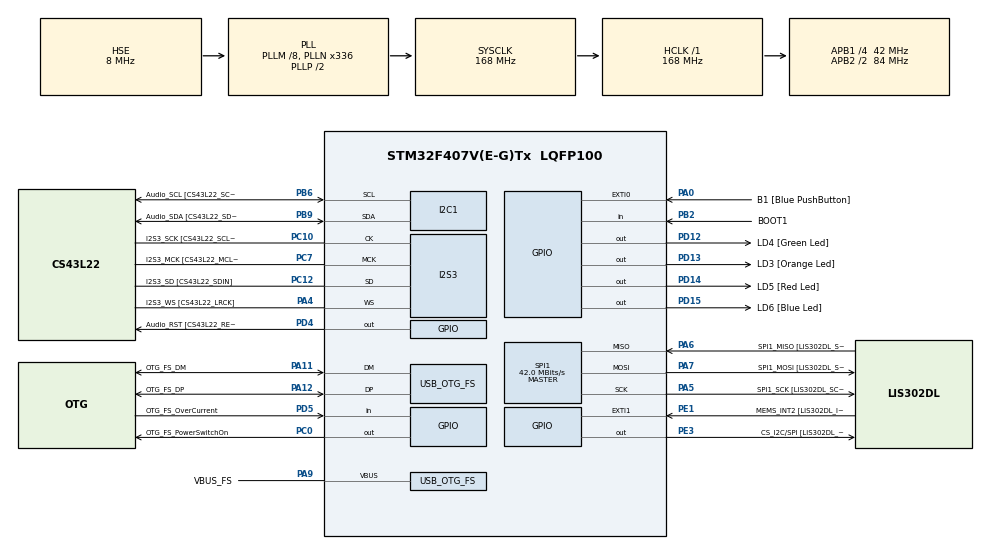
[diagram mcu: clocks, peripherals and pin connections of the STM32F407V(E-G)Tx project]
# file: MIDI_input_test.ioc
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Dma.Request0=SPI3_TX
Dma.SPI3_TX.0.Direction=DMA_MEMORY_TO_PERIPH
Dma.SPI3_TX.0.FIFOMode=DMA_FIFOMODE_DISABLE
Dma.SPI3_TX.0.Instance=DMA1_Stream5
Dma.SPI3_TX.0.MemDataAlignment=DMA_MDATAALIGN_HALFWORD
Dma.SPI3_TX.0.MemInc=DMA_MINC_ENABLE
Dma.SPI3_TX.0.Mode=DMA_CIRCULAR
Dma.SPI3_TX.0.PeriphDataAlignment=DMA_PDATAALIGN_HALFWORD
Dma.SPI3_TX.0.PeriphInc=DMA_PINC_DISABLE
Dma.SPI3_TX.0.Priority=DMA_PRIORITY_VERY_HIGH
I2S3.AudioFreq=I2S_AUDIOFREQ_48K
I2S3.AudioFreq-Half_Duplex_Master=I2S_AUDIOFREQ_96K
I2S3.ErrorAudioFreq=0.19 %
I2S3.ErrorAudioFreq-Half_Duplex_Master=0.8 %
I2S3.FullDuplexMode=I2S_FULLDUPLEXMODE_DISABLE
I2S3.Instance=SPI$Index
I2S3.RealAudioFreq=48.095 KHz
I2S3.RealAudioFreq-Half_Duplex_Master=96.774 KHz
I2S3.VirtualMode=I2S_MODE_MASTER
Mcu.Family=STM32F4
Mcu.Name=STM32F407V(E-G)Tx
Mcu.Package=LQFP100
NVIC.DMA1_Stream5_IRQn=true\:0\:0\:true\:false\:true\:false\:true\:true
NVIC.OTG_FS_IRQn=true\:0\:0\:false\:false\:true\:true\:true\:true
NVIC.PriorityGroup=NVIC_PRIORITYGROUP_0
NVIC.SPI3_IRQn=true\:0\:0\:false\:false\:true\:true\:true\:true
PA0-WKUP.GPIO_Label=B1 [Blue PushButton]
PA0-WKUP.GPIO_ModeDefaultEXTI=GPIO_MODE_EVT_RISING
PA0-WKUP.GPIO_PuPd=GPIO_NOPULL
PA0-WKUP.Signal=GPXTI0
PA10.GPIO_Label=OTG_FS_ID
PA10.GPIO_Mode=GPIO_MODE_AF_PP
PA10.GPIO_PuPd=GPIO_NOPULL
PA10.GPIO_Speed=GPIO_SPEED_FREQ_LOW
PA10.Signal=USB_OTG_FS_ID
PA11.GPIO_Label=OTG_FS_DM
PA11.GPIO_Mode=GPIO_MODE_AF_PP
PA11.GPIO_PuPd=GPIO_NOPULL
PA11.GPIO_Speed=GPIO_SPEED_FREQ_LOW
PA11.Mode=Device_Only
PA11.Signal=USB_OTG_FS_DM
PA12.GPIO_Label=OTG_FS_DP
PA12.GPIO_Mode=GPIO_MODE_AF_PP
PA12.GPIO_PuPd=GPIO_NOPULL
PA12.GPIO_Speed=GPIO_SPEED_FREQ_LOW
PA12.Mode=Device_Only
PA12.Signal=USB_OTG_FS_DP
PA13.GPIO_Label=SWDIO
PA13.Mode=Trace_Asynchronous_SW
PA13.Signal=SYS_JTMS-SWDIO
PA14.GPIO_Label=SWCLK
PA14.Mode=Trace_Asynchronous_SW
PA14.Signal=SYS_JTCK-SWCLK
PA4.GPIO_Label=I2S3_WS [CS43L22_LRCK]
PA4.GPIO_Mode=GPIO_MODE_AF_PP
PA4.GPIO_PuPd=GPIO_NOPULL
PA4.GPIO_Speed=GPIO_SPEED_FREQ_LOW
PA4.Mode=Half_Duplex_Master
PA4.Signal=I2S3_WS
PA5.GPIO_Label=SPI1_SCK [LIS302DL_SCL/SPC]
PA5.GPIO_Mode=GPIO_MODE_AF_PP
PA5.GPIO_PuPd=GPIO_NOPULL
PA5.GPIO_Speed=GPIO_SPEED_FREQ_LOW
PA5.Mode=Full_Duplex_Master
PA5.Signal=SPI1_SCK
PA6.GPIO_Label=SPI1_MISO [LIS302DL_SDO]
PA6.GPIO_Mode=GPIO_MODE_AF_PP
PA6.GPIO_PuPd=GPIO_NOPULL
PA6.GPIO_Speed=GPIO_SPEED_FREQ_LOW
PA6.Mode=Full_Duplex_Master
PA6.Signal=SPI1_MISO
PA7.GPIO_Label=SPI1_MOSI [LIS302DL_SDA/SDI/SDO]
PA7.GPIO_Mode=GPIO_MODE_AF_PP
PA7.GPIO_PuPd=GPIO_NOPULL
PA7.GPIO_Speed=GPIO_SPEED_FREQ_LOW
PA7.Mode=Full_Duplex_Master
PA7.Signal=SPI1_MOSI
PA9.GPIO_Label=VBUS_FS
PA9.GPIO_Mode=GPIO_MODE_INPUT
PA9.GPIO_PuPd=GPIO_NOPULL
PA9.Mode=Activate_VBUS
PA9.Signal=USB_OTG_FS_VBUS
PB10.GPIO_Label=CLK_IN [MP45DT02_CLK]
PB10.GPIO_Mode=GPIO_MODE_AF_PP
PB10.GPIO_PuPd=GPIO_NOPULL
PB10.GPIO_Speed=GPIO_SPEED_FREQ_LOW
PB10.Signal=I2S2_CK
PB2.GPIO_Label=BOOT1
PB2.GPIO_Mode=GPIO_MODE_INPUT
PB2.GPIO_PuPd=GPIO_NOPULL
PB2.Signal=GPIO_Input
PB3.GPIO_Label=SWO
PB3.Mode=Trace_Asynchronous_SW
PB3.Signal=SYS_JTDO-SWO
PB6.GPIO_Label=Audio_SCL [CS43L22_SCL]
PB6.GPIO_Mode=GPIO_MODE_AF_OD
PB6.GPIO_Pu=GPIO_PULLUP
PB6.GPIO_PuPd=GPIO_NOPULL
PB6.GPIO_Speed=GPIO_SPEED_FREQ_LOW
PB6.Mode=I2C
PB6.Signal=I2C1_SCL
PB9.GPIO_Label=Audio_SDA [CS43L22_SDA]
PB9.GPIO_Mode=GPIO_MODE_AF_OD
PB9.GPIO_Pu=GPIO_PULLUP
PB9.GPIO_PuPd=GPIO_NOPULL
PB9.GPIO_Speed=GPIO_SPEED_FREQ_LOW
PB9.Mode=I2C
PB9.Signal=I2C1_SDA
PC0.GPIO_Label=OTG_FS_PowerSwitchOn
PC0.GPIO_PuPd=GPIO_NOPULL
PC0.GPIO_Speed=GPIO_SPEED_FREQ_LOW
PC0.PinState=GPIO_PIN_SET
PC0.Signal=GPIO_Output
PC10.GPIO_Label=I2S3_SCK [CS43L22_SCLK]
PC10.GPIO_Mode=GPIO_MODE_AF_PP
PC10.GPIO_PuPd=GPIO_NOPULL
PC10.GPIO_Speed=GPIO_SPEED_FREQ_LOW
PC10.Mode=Half_Duplex_Master
PC10.Signal=I2S3_CK
PC12.GPIO_Label=I2S3_SD [CS43L22_SDIN]
PC12.GPIO_Mode=GPIO_MODE_AF_PP
PC12.GPIO_PuPd=GPIO_NOPULL
PC12.GPIO_Speed=GPIO_SPEED_FREQ_LOW
PC12.Mode=Half_Duplex_Master
PC12.Signal=I2S3_SD
PC14-OSC32_IN.GPIO_Label=PC14-OSC32_IN
PC14-OSC32_IN.Mode=LSE-External-Oscillator
PC14-OSC32_IN.Signal=RCC_OSC32_IN
PC15-OSC32_OUT.GPIO_Label=PC15-OSC32_OUT
PC15-OSC32_OUT.Mode=LSE-External-Oscillator
PC15-OSC32_OUT.Signal=RCC_OSC32_OUT
PC3.GPIO_Label=PDM_OUT [MP45DT02_DOUT]
PC3.GPIO_Mode=GPIO_MODE_AF_PP
PC3.GPIO_PuPd=GPIO_NOPULL
PC3.GPIO_Speed=GPIO_SPEED_FREQ_LOW
PC3.Signal=I2S2_SD
PC7.GPIO_Label=I2S3_MCK [CS43L22_MCLK]
PC7.GPIO_Mode=GPIO_MODE_AF_PP
PC7.GPIO_PuPd=GPIO_NOPULL
PC7.GPIO_Speed=GPIO_SPEED_FREQ_LOW
PC7.Mode=Master_Clock_Activated
PC7.Signal=I2S3_MCK
PD12.GPIO_Label=LD4 [Green Led]
PD12.GPIO_PuPd=GPIO_NOPULL
PD12.GPIO_Speed=GPIO_SPEED_FREQ_LOW
PD12.Signal=GPIO_Output
PD13.GPIO_Label=LD3 [Orange Led]
PD13.GPIO_PuPd=GPIO_NOPULL
PD13.GPIO_Speed=GPIO_SPEED_FREQ_LOW
PD13.Signal=GPIO_Output
PD14.GPIO_Label=LD5 [Red Led]
PD14.GPIO_PuPd=GPIO_NOPULL
PD14.GPIO_Speed=GPIO_SPEED_FREQ_LOW
PD14.Signal=GPIO_Output
PD15.GPIO_Label=LD6 [Blue Led]
PD15.GPIO_PuPd=GPIO_NOPULL
PD15.GPIO_Speed=GPIO_SPEED_FREQ_LOW
PD15.Signal=GPIO_Output
PD4.GPIO_Label=Audio_RST [CS43L22_RESET]
PD4.GPIO_PuPd=GPIO_PULLUP
PD4.GPIO_Speed=GPIO_SPEED_FREQ_LOW
PD4.Signal=GPIO_Output
PD5.GPIO_Label=OTG_FS_OverCurrent
PD5.GPIO_Mode=GPIO_MODE_INPUT
PD5.GPIO_PuPd=GPIO_NOPULL
PD5.Signal=GPIO_Input
PE1.GPIO_Label=MEMS_INT2 [LIS302DL_INT2]
PE1.GPIO_ModeDefaultEXTI=GPIO_MODE_EVT_RISING
PE1.GPIO_PuPd=GPIO_NOPULL
PE1.Signal=GPXTI1
PE3.GPIO_Label=CS_I2C/SPI [LIS302DL_CS_I2C/SPI]
PE3.GPIO_PuPd=GPIO_NOPULL
PE3.GPIO_Speed=GPIO_SPEED_FREQ_LOW
PE3.Signal=GPIO_Output
PH0-OSC_IN.GPIO_Label=PH0-OSC_IN
PH0-OSC_IN.Mode=HSE-External-Oscillator
PH0-OSC_IN.Signal=RCC_OSC_IN
PH1-OSC_OUT.GPIO_Label=PH1-OSC_OUT
PH1-OSC_OUT.Mode=HSE-External-Oscillator
PH1-OSC_OUT.Signal=RCC_OSC_OUT
ProjectManager.HeapSize=0x200
ProjectManager.StackSize=0x400
ProjectManager.TargetToolchain=STM32CubeIDE
RCC.48MHZClocksFreq_Value=48000000
RCC.AHBFreq_Value=168000000
RCC.APB1CLKDivider=RCC_HCLK_DIV4
RCC.APB1Freq_Value=42000000
RCC.APB1TimFreq_Value=84000000
RCC.APB2CLKDivider=RCC_HCLK_DIV2
RCC.APB2Freq_Value=84000000
RCC.APB2TimFreq_Value=168000000
RCC.CortexFreq_Value=168000000
RCC.HCLKFreq_Value=168000000
RCC.HSE_VALUE=8000000
RCC.HSI_VALUE=16000000
RCC.PLLI2SN=197
RCC.PLLM=8
RCC.PLLN=336
RCC.PLLQ=7
RCC.SYSCLKFreq_VALUE=168000000
RCC.SYSCLKSource=RCC_SYSCLKSOURCE_PLLCLK
RCC.VCOOutputFreq_Value=336000000
SPI1.BaudRatePrescaler=SPI_BAUDRATEPRESCALER_2
SPI1.BaudRatePrescaler-Full_Duplex_Master=SPI_BAUDRATEPRESCALER_2
SPI1.CalculateBaudRate=42.0 MBits/s
SPI1.CalculateBaudRate-Full_Duplex_Master=42.0 MBits/s
SPI1.Direction=SPI_DIRECTION_2LINES
SPI1.Mode=SPI_MODE_MASTER
SPI1.Mode-Full_Duplex_Master=SPI_MODE_MASTER
SPI1.VirtualType=VM_MASTER
USB_DEVICE.CLASS_NAME_FS=HID
USB_DEVICE.VirtualMode-HID_FS=Hid
USB_DEVICE.VirtualModeFS=Hid_FS
USB_OTG_FS.VirtualMode=Device_Only
VP_USB_DEVICE_VS_USB_DEVICE_HID_FS.Mode=HID_FS
board=STM32F407G-DISC1

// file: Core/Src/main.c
/* USER CODE BEGIN Header */
/**
  ******************************************************************************
  * @file           : main.c
  * @brief          : Main program body
  ******************************************************************************
  * @attention
  *
  * Copyright (c) 2025 STMicroelectronics.
  * All rights reserved.
  *
  * This software is licensed under terms that can be found in the LICENSE file
  * in the root directory of this software component.
  * If no LICENSE file comes with this software, it is provided AS-IS.
  *
  ******************************************************************************
  */
/* USER CODE END Header */
#include "main.h"
#include "usb_device.h"

I2C_HandleTypeDef hi2c1;

I2S_HandleTypeDef hi2s3;
DMA_HandleTypeDef hdma_spi3_tx;

SPI_HandleTypeDef hspi1;

/* USER CODE BEGIN PV */
uint16_t wire;
uint16_t message;
uint8_t channel;
uint8_t messageByte1;
uint8_t messageByte2;
/* USER CODE END PV */

void SystemClock_Config(void);
static void MX_GPIO_Init(void);
static void MX_DMA_Init(void);
static void MX_I2C1_Init(void);
static void MX_I2S3_Init(void);
static void MX_SPI1_Init(void);

/* USER CODE BEGIN 0 */
void USBD_MIDI_DataInHandler(uint8_t *usb_rx_buffer, uint8_t usb_rx_buffer_length)
{
  while (usb_rx_buffer_length && *usb_rx_buffer != 0x00)
  {
    wire = usb_rx_buffer[0] >> 4;
    message = usb_rx_buffer[1] >> 4;
    channel = usb_rx_buffer[1] & 0x0F;
    messageByte1 = usb_rx_buffer[2];
    messageByte2 = usb_rx_buffer[3];
    usb_rx_buffer += 4;
    usb_rx_buffer_length -= 4;
    HAL_GPIO_TogglePin(LD5_GPIO_Port, LD5_Pin);
  }
}
/* USER CODE END 0 */

int main(void)
{

  /* MCU Configuration--------------------------------------------------------*/

  /* Reset of all peripherals, Initializes the Flash interface and the Systick. */
  HAL_Init();

  /* Configure the system clock */
  SystemClock_Config();

  /* Initialize all configured peripherals */
  MX_GPIO_Init();
  MX_DMA_Init();
  MX_I2C1_Init();
  MX_I2S3_Init();
  MX_SPI1_Init();
  MX_USB_DEVICE_Init();
  /* USER CODE BEGIN 2 */
  HAL_GPIO_WritePin(OTG_FS_PowerSwitchOn_GPIO_Port, OTG_FS_PowerSwitchOn_Pin, GPIO_PIN_RESET);
  /* USER CODE END 2 */

  /* Infinite loop */
  while (1)
  {

    /* USER CODE BEGIN 3 */
	  //uint8_t buffer[] = "Hello world!\r\n";
	  //CDC_Transmit_FS(buffer,sizeof(buffer));
	  //HAL_Delay(1000);
	  //HAL_GPIO_TogglePin(LD5_GPIO_Port, LD5_Pin);
  }
  /* USER CODE END 3 */
}

void SystemClock_Config(void)
{
  RCC_OscInitTypeDef RCC_OscInitStruct = {0};
  RCC_ClkInitTypeDef RCC_ClkInitStruct = {0};

  /** Configure the main internal regulator output voltage
  */
  __HAL_RCC_PWR_CLK_ENABLE();
  __HAL_PWR_VOLTAGESCALING_CONFIG(PWR_REGULATOR_VOLTAGE_SCALE1);

  /** Initializes the RCC Oscillators according to the specified parameters
  * in the RCC_OscInitTypeDef structure.
  */
  RCC_OscInitStruct.OscillatorType = RCC_OSCILLATORTYPE_HSE;
  RCC_OscInitStruct.HSEState = RCC_HSE_ON;
  RCC_OscInitStruct.PLL.PLLState = RCC_PLL_ON;
  RCC_OscInitStruct.PLL.PLLSource = RCC_PLLSOURCE_HSE;
  RCC_OscInitStruct.PLL.PLLM = 8;
  RCC_OscInitStruct.PLL.PLLN = 336;
  RCC_OscInitStruct.PLL.PLLP = RCC_PLLP_DIV2;
  RCC_OscInitStruct.PLL.PLLQ = 7;
  if (HAL_RCC_OscConfig(&RCC_OscInitStruct) != HAL_OK)
  {
    Error_Handler();
  }

  /** Initializes the CPU, AHB and APB buses clocks
  */
  RCC_ClkInitStruct.ClockType = RCC_CLOCKTYPE_HCLK|RCC_CLOCKTYPE_SYSCLK
                              |RCC_CLOCKTYPE_PCLK1|RCC_CLOCKTYPE_PCLK2;
  RCC_ClkInitStruct.SYSCLKSource = RCC_SYSCLKSOURCE_PLLCLK;
  RCC_ClkInitStruct.AHBCLKDivider = RCC_SYSCLK_DIV1;
  RCC_ClkInitStruct.APB1CLKDivider = RCC_HCLK_DIV4;
  RCC_ClkInitStruct.APB2CLKDivider = RCC_HCLK_DIV2;

  if (HAL_RCC_ClockConfig(&RCC_ClkInitStruct, FLASH_LATENCY_5) != HAL_OK)
  {
    Error_Handler();
  }
}

static void MX_I2C1_Init(void)
{

  hi2c1.Instance = I2C1;
  hi2c1.Init.ClockSpeed = 100000;
  hi2c1.Init.DutyCycle = I2C_DUTYCYCLE_2;
  hi2c1.Init.OwnAddress1 = 0;
  hi2c1.Init.AddressingMode = I2C_ADDRESSINGMODE_7BIT;
  hi2c1.Init.DualAddressMode = I2C_DUALADDRESS_DISABLE;
  hi2c1.Init.OwnAddress2 = 0;
  hi2c1.Init.GeneralCallMode = I2C_GENERALCALL_DISABLE;
  hi2c1.Init.NoStretchMode = I2C_NOSTRETCH_DISABLE;
  if (HAL_I2C_Init(&hi2c1) != HAL_OK)
  {
    Error_Handler();
  }

}

static void MX_I2S3_Init(void)
{

  hi2s3.Instance = SPI3;
  hi2s3.Init.Mode = I2S_MODE_MASTER_TX;
  hi2s3.Init.Standard = I2S_STANDARD_PHILIPS;
  hi2s3.Init.DataFormat = I2S_DATAFORMAT_16B;
  hi2s3.Init.MCLKOutput = I2S_MCLKOUTPUT_ENABLE;
  hi2s3.Init.AudioFreq = I2S_AUDIOFREQ_48K;
  hi2s3.Init.CPOL = I2S_CPOL_LOW;
  hi2s3.Init.ClockSource = I2S_CLOCK_PLL;
  hi2s3.Init.FullDuplexMode = I2S_FULLDUPLEXMODE_DISABLE;
  if (HAL_I2S_Init(&hi2s3) != HAL_OK)
  {
    Error_Handler();
  }

}

static void MX_SPI1_Init(void)
{

  /* SPI1 parameter configuration*/
  hspi1.Instance = SPI1;
  hspi1.Init.Mode = SPI_MODE_MASTER;
  hspi1.Init.Direction = SPI_DIRECTION_2LINES;
  hspi1.Init.DataSize = SPI_DATASIZE_8BIT;
  hspi1.Init.CLKPolarity = SPI_POLARITY_LOW;
  hspi1.Init.CLKPhase = SPI_PHASE_1EDGE;
  hspi1.Init.NSS = SPI_NSS_SOFT;
  hspi1.Init.BaudRatePrescaler = SPI_BAUDRATEPRESCALER_2;
  hspi1.Init.FirstBit = SPI_FIRSTBIT_MSB;
  hspi1.Init.TIMode = SPI_TIMODE_DISABLE;
  hspi1.Init.CRCCalculation = SPI_CRCCALCULATION_DISABLE;
  hspi1.Init.CRCPolynomial = 10;
  if (HAL_SPI_Init(&hspi1) != HAL_OK)
  {
    Error_Handler();
  }

}

static void MX_DMA_Init(void)
{

  /* DMA controller clock enable */
  __HAL_RCC_DMA1_CLK_ENABLE();

  /* DMA interrupt init */
  /* DMA1_Stream5_IRQn interrupt configuration */
  HAL_NVIC_SetPriority(DMA1_Stream5_IRQn, 0, 0);
  HAL_NVIC_EnableIRQ(DMA1_Stream5_IRQn);

}

static void MX_GPIO_Init(void)
{
  GPIO_InitTypeDef GPIO_InitStruct = {0};

  /* GPIO Ports Clock Enable */
  __HAL_RCC_GPIOE_CLK_ENABLE();
  __HAL_RCC_GPIOC_CLK_ENABLE();
  __HAL_RCC_GPIOH_CLK_ENABLE();
  __HAL_RCC_GPIOA_CLK_ENABLE();
  __HAL_RCC_GPIOB_CLK_ENABLE();
  __HAL_RCC_GPIOD_CLK_ENABLE();

  /*Configure GPIO pin Output Level */
  HAL_GPIO_WritePin(CS_I2C_SPI_GPIO_Port, CS_I2C_SPI_Pin, GPIO_PIN_RESET);

  /*Configure GPIO pin Output Level */
  HAL_GPIO_WritePin(OTG_FS_PowerSwitchOn_GPIO_Port, OTG_FS_PowerSwitchOn_Pin, GPIO_PIN_SET);

  /*Configure GPIO pin Output Level */
  HAL_GPIO_WritePin(GPIOD, LD4_Pin|LD3_Pin|LD5_Pin|LD6_Pin
                          |Audio_RST_Pin, GPIO_PIN_RESET);

  /*Configure GPIO pin : CS_I2C_SPI_Pin */
  GPIO_InitStruct.Pin = CS_I2C_SPI_Pin;
  GPIO_InitStruct.Mode = GPIO_MODE_OUTPUT_PP;
  GPIO_InitStruct.Pull = GPIO_NOPULL;
  GPIO_InitStruct.Speed = GPIO_SPEED_FREQ_LOW;
  HAL_GPIO_Init(CS_I2C_SPI_GPIO_Port, &GPIO_InitStruct);

  /*Configure GPIO pin : OTG_FS_PowerSwitchOn_Pin */
  GPIO_InitStruct.Pin = OTG_FS_PowerSwitchOn_Pin;
  GPIO_InitStruct.Mode = GPIO_MODE_OUTPUT_PP;
  GPIO_InitStruct.Pull = GPIO_NOPULL;
  GPIO_InitStruct.Speed = GPIO_SPEED_FREQ_LOW;
  HAL_GPIO_Init(OTG_FS_PowerSwitchOn_GPIO_Port, &GPIO_InitStruct);

  /*Configure GPIO pin : PDM_OUT_Pin */
  GPIO_InitStruct.Pin = PDM_OUT_Pin;
  GPIO_InitStruct.Mode = GPIO_MODE_AF_PP;
  GPIO_InitStruct.Pull = GPIO_NOPULL;
  GPIO_InitStruct.Speed = GPIO_SPEED_FREQ_LOW;
  GPIO_InitStruct.Alternate = GPIO_AF5_SPI2;
  HAL_GPIO_Init(PDM_OUT_GPIO_Port, &GPIO_InitStruct);

  /*Configure GPIO pin : B1_Pin */
  GPIO_InitStruct.Pin = B1_Pin;
  GPIO_InitStruct.Mode = GPIO_MODE_EVT_RISING;
  GPIO_InitStruct.Pull = GPIO_NOPULL;
  HAL_GPIO_Init(B1_GPIO_Port, &GPIO_InitStruct);

  /*Configure GPIO pin : BOOT1_Pin */
  GPIO_InitStruct.Pin = BOOT1_Pin;
  GPIO_InitStruct.Mode = GPIO_MODE_INPUT;
  GPIO_InitStruct.Pull = GPIO_NOPULL;
  HAL_GPIO_Init(BOOT1_GPIO_Port, &GPIO_InitStruct);

  /*Configure GPIO pin : CLK_IN_Pin */
  GPIO_InitStruct.Pin = CLK_IN_Pin;
  GPIO_InitStruct.Mode = GPIO_MODE_AF_PP;
  GPIO_InitStruct.Pull = GPIO_NOPULL;
  GPIO_InitStruct.Speed = GPIO_SPEED_FREQ_LOW;
  GPIO_InitStruct.Alternate = GPIO_AF5_SPI2;
  HAL_GPIO_Init(CLK_IN_GPIO_Port, &GPIO_InitStruct);

  /*Configure GPIO pins : LD4_Pin LD3_Pin LD5_Pin LD6_Pin */
  GPIO_InitStruct.Pin = LD4_Pin|LD3_Pin|LD5_Pin|LD6_Pin;
  GPIO_InitStruct.Mode = GPIO_MODE_OUTPUT_PP;
  GPIO_InitStruct.Pull = GPIO_NOPULL;
  GPIO_InitStruct.Speed = GPIO_SPEED_FREQ_LOW;
  HAL_GPIO_Init(GPIOD, &GPIO_InitStruct);

  /*Configure GPIO pin : Audio_RST_Pin */
  GPIO_InitStruct.Pin = Audio_RST_Pin;
  GPIO_InitStruct.Mode = GPIO_MODE_OUTPUT_PP;
  GPIO_InitStruct.Pull = GPIO_PULLUP;
  GPIO_InitStruct.Speed = GPIO_SPEED_FREQ_LOW;
  HAL_GPIO_Init(Audio_RST_GPIO_Port, &GPIO_InitStruct);

  /*Configure GPIO pin : OTG_FS_OverCurrent_Pin */
  GPIO_InitStruct.Pin = OTG_FS_OverCurrent_Pin;
  GPIO_InitStruct.Mode = GPIO_MODE_INPUT;
  GPIO_InitStruct.Pull = GPIO_NOPULL;
  HAL_GPIO_Init(OTG_FS_OverCurrent_GPIO_Port, &GPIO_InitStruct);

  /*Configure GPIO pin : MEMS_INT2_Pin */
  GPIO_InitStruct.Pin = MEMS_INT2_Pin;
  GPIO_InitStruct.Mode = GPIO_MODE_EVT_RISING;
  GPIO_InitStruct.Pull = GPIO_NOPULL;
  HAL_GPIO_Init(MEMS_INT2_GPIO_Port, &GPIO_InitStruct);

}

void Error_Handler(void)
{
  __disable_irq();
  while (1)
  {
  }
}
